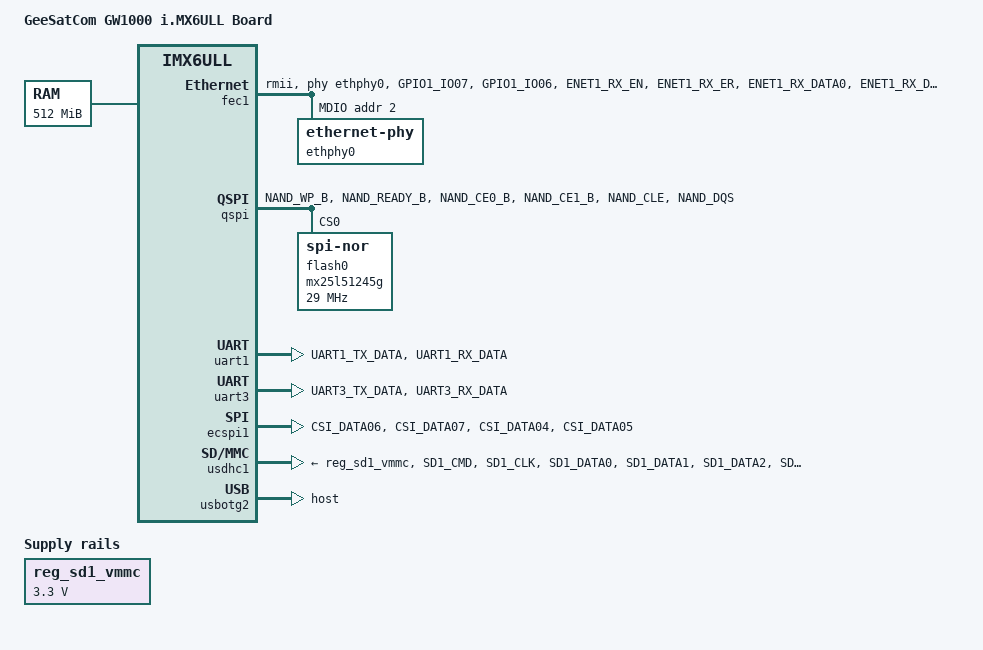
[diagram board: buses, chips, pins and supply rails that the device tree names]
/dts-v1/;

#include "imx6ull.dtsi"

/ {
    model = "GeeSatCom GW1000 i.MX6ULL Board";
    compatible = "fsl,imx6ull-14x14-evk", "fsl,imx6ull";

	chosen {
		stdout-path = &uart1;
	};


    memory@80000000 {
		device_type = "memory";
		reg = <0x80000000 0x20000000>;
	};

	reg_sd1_vmmc: regulator-sd1-vmmc {
		compatible = "regulator-fixed";
		regulator-name = "VSD_3V3";
		regulator-min-microvolt = <3300000>;
		regulator-max-microvolt = <3300000>;
		regulator-always-on;
	};
};

&fec1 {
	pinctrl-names = "default";
	pinctrl-0 = <&pinctrl_enet1>;
	phy-mode = "rmii";
	phy-handle = <&ethphy0>;
	phy-reset-gpios = <&gpio5 8 GPIO_ACTIVE_LOW>;
	phy-reset-duration = <10>;
	local-mac-address = [00 06 34 01 01 01];
	status = "okay";

	mdio {
		#address-cells = <1>;
		#size-cells = <0>;

		ethphy0: ethernet-phy@2 {
			reg = <2>;
			micrel,led-mode = <1>;
			clocks = <&clks IMX6UL_CLK_ENET_REF>;
			clock-names = "rmii-ref";
		};
	};
};

&qspi {
	pinctrl-names = "default";
	pinctrl-0 = <&pinctrl_qspi>;
	status = "okay";

	flash0: mx25l51245g@0 {
		#address-cells = <1>;
		#size-cells = <1>;
		compatible = "jedec,spi-nor";
		spi-max-frequency = <29000000>;
		reg = <0>;
	};
};

&uart1 {
	pinctrl-names = "default";
	pinctrl-0 = <&pinctrl_uart1>;
	status = "okay";
};

&uart3 {
	pinctrl-names = "default";
	pinctrl-0 = <&pinctrl_uart3>;
	status = "okay";
};

&ecspi1 {
	fsl,spi-num-chipselects = <1>;
	cs-gpios = <&gpio4 26 0>;
	pinctrl-names = "default";
	pinctrl-0 = <&pinctrl_ecspi1_1 &pinctrl_ecspi1_cs_1>;
	status = "okay";
};

&usdhc1 {
	pinctrl-names = "default", "state_100mhz", "state_200mhz";
	pinctrl-0 = <&pinctrl_usdhc1>;
	pinctrl-1 = <&pinctrl_usdhc1_100mhz>;
	pinctrl-2 = <&pinctrl_usdhc1_200mhz>;
	keep-power-in-suspend;
	broken-cd;
	vmmc-supply = <&reg_sd1_vmmc>;
	status = "okay";
};

&usbotg2 {
	dr_mode = "host";
	disable-over-current;
	status = "okay";
};

&iomuxc {
	pinctrl-names = "default";

	pinctrl_enet1: enet1grp {
		fsl,pins = <
			MX6UL_PAD_GPIO1_IO07__ENET1_MDC		0x1b0b0
			MX6UL_PAD_GPIO1_IO06__ENET1_MDIO	0x1b0b0
			MX6UL_PAD_ENET1_RX_EN__ENET1_RX_EN	0x1b0b0
			MX6UL_PAD_ENET1_RX_ER__ENET1_RX_ER	0x1b0b0
			MX6UL_PAD_ENET1_RX_DATA0__ENET1_RDATA00	0x1b0b0
			MX6UL_PAD_ENET1_RX_DATA1__ENET1_RDATA01	0x1b0b0
			MX6UL_PAD_ENET1_TX_EN__ENET1_TX_EN	0x1b0b0
			MX6UL_PAD_ENET1_TX_DATA0__ENET1_TDATA00	0x1b0b0
			MX6UL_PAD_ENET1_TX_DATA1__ENET1_TDATA01	0x1b0b0
			MX6UL_PAD_ENET1_TX_CLK__ENET1_REF_CLK1	0x4001b031
		>;
	};

	pinctrl_uart1: uart1grp {
		fsl,pins = <
			MX6UL_PAD_UART1_TX_DATA__UART1_DCE_TX 0x1b0b1
			MX6UL_PAD_UART1_RX_DATA__UART1_DCE_RX 0x1b0b1
		>;
	};

	pinctrl_uart3: uart3grp {
		fsl,pins = <
			MX6UL_PAD_UART3_TX_DATA__UART3_DCE_TX 0x1b0b2
			MX6UL_PAD_UART3_RX_DATA__UART3_DCE_RX 0x1b0b2
		>;
	};


	pinctrl_qspi: qspigrp {
		fsl,pins = <
			MX6UL_PAD_NAND_WP_B__QSPI_A_SCLK	0x70a1
			MX6UL_PAD_NAND_READY_B__QSPI_A_DATA00	0x70a1
			MX6UL_PAD_NAND_CE0_B__QSPI_A_DATA01	0x70a1
			MX6UL_PAD_NAND_CE1_B__QSPI_A_DATA02	0x70a1
			MX6UL_PAD_NAND_CLE__QSPI_A_DATA03	0x70a1
			MX6UL_PAD_NAND_DQS__QSPI_A_SS0_B	0x70a1
		>;
	};

	pinctrl_ecspi1_cs_1: ecspi1_cs_grp-1 {
		fsl,pins = <
			MX6UL_PAD_CSI_DATA05__GPIO4_IO26  0x10b0
		>;
	};

	pinctrl_ecspi1_1: ecspi1grp-1 {
		fsl,pins = <
			MX6UL_PAD_CSI_DATA06__ECSPI1_MOSI 0x10b0
			MX6UL_PAD_CSI_DATA07__ECSPI1_MISO 0x10b0
			MX6UL_PAD_CSI_DATA04__ECSPI1_SCLK 0x10b0
		>;
	};

	pinctrl_gpmi_nand_1: gpmi-nand-1 {
		fsl,pins = <
			MX6UL_PAD_NAND_CLE__RAWNAND_CLE         0xb0b1
			MX6UL_PAD_NAND_ALE__RAWNAND_ALE         0xb0b1
			MX6UL_PAD_NAND_WP_B__RAWNAND_WP_B       0xb0b1
			MX6UL_PAD_NAND_READY_B__RAWNAND_READY_B 0xb000
			MX6UL_PAD_NAND_CE0_B__RAWNAND_CE0_B     0xb0b1
			MX6UL_PAD_NAND_CE1_B__RAWNAND_CE1_B     0xb0b1
			MX6UL_PAD_NAND_RE_B__RAWNAND_RE_B       0xb0b1
			MX6UL_PAD_NAND_WE_B__RAWNAND_WE_B       0xb0b1
			MX6UL_PAD_NAND_DATA00__RAWNAND_DATA00   0xb0b1
			MX6UL_PAD_NAND_DATA01__RAWNAND_DATA01   0xb0b1
			MX6UL_PAD_NAND_DATA02__RAWNAND_DATA02   0xb0b1
			MX6UL_PAD_NAND_DATA03__RAWNAND_DATA03   0xb0b1
			MX6UL_PAD_NAND_DATA04__RAWNAND_DATA04   0xb0b1
			MX6UL_PAD_NAND_DATA05__RAWNAND_DATA05   0xb0b1
			MX6UL_PAD_NAND_DATA06__RAWNAND_DATA06   0xb0b1
			MX6UL_PAD_NAND_DATA07__RAWNAND_DATA07   0xb0b1
		>;
	};

	pinctrl_usdhc1: usdhc1grp {
		fsl,pins = <
			MX6UL_PAD_SD1_CMD__USDHC1_CMD     	0x17059
			MX6UL_PAD_SD1_CLK__USDHC1_CLK		0x10071
			MX6UL_PAD_SD1_DATA0__USDHC1_DATA0 	0x17059
			MX6UL_PAD_SD1_DATA1__USDHC1_DATA1 	0x17059
			MX6UL_PAD_SD1_DATA2__USDHC1_DATA2 	0x17059
			MX6UL_PAD_SD1_DATA3__USDHC1_DATA3 	0x17059
		>;
	};

	pinctrl_usdhc1_100mhz: usdhc1grp100mhz {
		fsl,pins = <
			MX6UL_PAD_SD1_CMD__USDHC1_CMD     0x170b9
			MX6UL_PAD_SD1_CLK__USDHC1_CLK     0x100b9
			MX6UL_PAD_SD1_DATA0__USDHC1_DATA0 0x170b9
			MX6UL_PAD_SD1_DATA1__USDHC1_DATA1 0x170b9
			MX6UL_PAD_SD1_DATA2__USDHC1_DATA2 0x170b9
			MX6UL_PAD_SD1_DATA3__USDHC1_DATA3 0x170b9

		>;
	};

	pinctrl_usdhc1_200mhz: usdhc1grp200mhz {
		fsl,pins = <
			MX6UL_PAD_SD1_CMD__USDHC1_CMD     0x170f9
			MX6UL_PAD_SD1_CLK__USDHC1_CLK     0x100f9
			MX6UL_PAD_SD1_DATA0__USDHC1_DATA0 0x170f9
			MX6UL_PAD_SD1_DATA1__USDHC1_DATA1 0x170f9
			MX6UL_PAD_SD1_DATA2__USDHC1_DATA2 0x170f9
			MX6UL_PAD_SD1_DATA3__USDHC1_DATA3 0x170f9
		>;
	};
};

&iomuxc_snvs {
	pinctrl-names = "default_snvs";

	imx6ull {
		pinctrl_fec1_reset: fec1_resetgrp {
			fsl,pins = <
				MX6ULL_PAD_SNVS_TAMPER8__GPIO5_IO08	0x79
			>;
		};
	};
};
